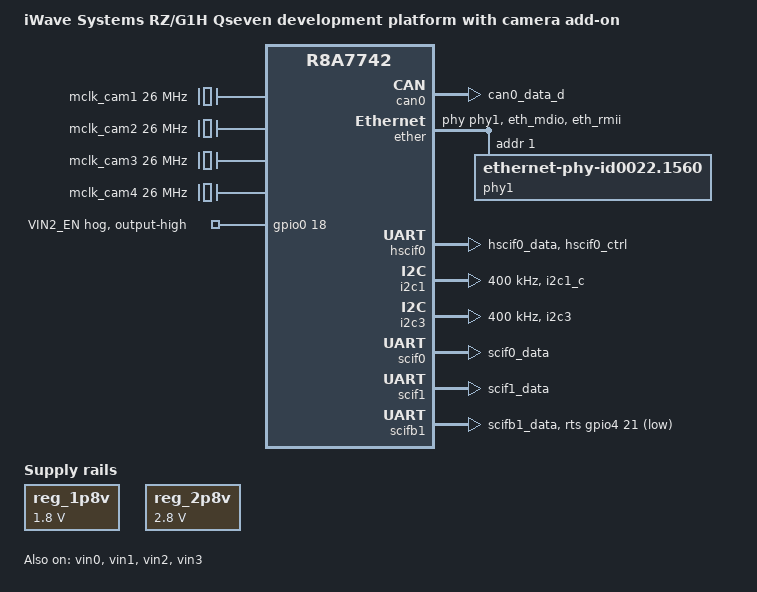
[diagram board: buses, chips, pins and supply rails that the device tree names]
// SPDX-License-Identifier: GPL-2.0
/*
 * Device Tree Source for the iWave-RZ/G1H Qseven board development
 * platform with camera daughter board
 *
 * Copyright (C) 2020 Renesas Electronics Corp.
 */

/dts-v1/;
#include "r8a7742-iwg21d-q7.dts"

/ {
	model = "iWave Systems RZ/G1H Qseven development platform with camera add-on";
	compatible = "iwave,g21d", "iwave,g21m", "renesas,r8a7742";

	aliases {
		serial0 = &scif0;
		serial1 = &scif1;
		serial3 = &scifb1;
		serial5 = &hscif0;
		ethernet1 = &ether;
	};

	mclk_cam1: mclk-cam1 {
		compatible = "fixed-clock";
		#clock-cells = <0>;
		clock-frequency = <26000000>;
	};

	mclk_cam2: mclk-cam2 {
		compatible = "fixed-clock";
		#clock-cells = <0>;
		clock-frequency = <26000000>;
	};

	mclk_cam3: mclk-cam3 {
		compatible = "fixed-clock";
		#clock-cells = <0>;
		clock-frequency = <26000000>;
	};

	mclk_cam4: mclk-cam4 {
		compatible = "fixed-clock";
		#clock-cells = <0>;
		clock-frequency = <26000000>;
	};

	reg_1p8v: 1p8v {
		compatible = "regulator-fixed";
		regulator-name = "1P8V";
		regulator-min-microvolt = <1800000>;
		regulator-max-microvolt = <1800000>;
		regulator-always-on;
	};

	reg_2p8v: 2p8v {
		compatible = "regulator-fixed";
		regulator-name = "2P8V";
		regulator-min-microvolt = <2800000>;
		regulator-max-microvolt = <2800000>;
		regulator-always-on;
	};
};

&avb {
	/* Pins shared with VIN0, keep status disabled */
	status = "disabled";
};

&can0 {
	pinctrl-0 = <&can0_pins>;
	pinctrl-names = "default";
	status = "okay";
};

&ether {
	pinctrl-0 = <&ether_pins>;
	pinctrl-names = "default";

	phy-handle = <&phy1>;
	renesas,ether-link-active-low;
	status = "okay";

	phy1: ethernet-phy@1 {
		compatible = "ethernet-phy-id0022.1560",
			     "ethernet-phy-ieee802.3-c22";
		reg = <1>;
		micrel,led-mode = <1>;
	};
};

&gpio0 {
	/* Disable hogging GP0_18 to output LOW */
	/delete-node/ qspi-en-hog;

	/* Hog GP0_18 to output HIGH to enable VIN2 */
	vin2-en-hog {
		gpio-hog;
		gpios = <18 GPIO_ACTIVE_HIGH>;
		output-high;
		line-name = "VIN2_EN";
	};
};

&hscif0 {
	pinctrl-0 = <&hscif0_pins>;
	pinctrl-names = "default";
	uart-has-rtscts;
	status = "okay";
};

&i2c1 {
	pinctrl-0 = <&i2c1_pins>;
	pinctrl-names = "default";

	/* status set to "okay" when needed by camera configuration below */
	clock-frequency = <400000>;
};

&i2c3 {
	pinctrl-0 = <&i2c3_pins>;
	pinctrl-names = "default";

	/* status set to "okay" when needed by camera configuration below */
	clock-frequency = <400000>;
};

&pfc {
	can0_pins: can0 {
		groups = "can0_data_d";
		function = "can0";
	};

	ether_pins: ether {
		groups = "eth_mdio", "eth_rmii";
		function = "eth";
	};

	hscif0_pins: hscif0 {
		groups = "hscif0_data", "hscif0_ctrl";
		function = "hscif0";
	};

	i2c1_pins: i2c1 {
		groups = "i2c1_c";
		function = "i2c1";
	};

	i2c3_pins: i2c3 {
		groups = "i2c3";
		function = "i2c3";
	};

	scif0_pins: scif0 {
		groups = "scif0_data";
		function = "scif0";
	};

	scif1_pins: scif1 {
		groups = "scif1_data";
		function = "scif1";
	};

	scifb1_pins: scifb1 {
		groups = "scifb1_data";
		function = "scifb1";
	};

	vin0_8bit_pins: vin0 {
		groups = "vin0_data8", "vin0_clk", "vin0_sync";
		function = "vin0";
	};

	vin1_8bit_pins: vin1 {
		groups = "vin1_data8_b", "vin1_clk_b", "vin1_sync_b";
		function = "vin1";
	};

	vin2_pins: vin2 {
		groups = "vin2_g8", "vin2_clk";
		function = "vin2";
	};

	vin3_pins: vin3 {
		groups = "vin3_data8", "vin3_clk", "vin3_sync";
		function = "vin3";
	};
};

&qspi {
	/* Pins shared with VIN2, keep status disabled */
	status = "disabled";
};

&scif0 {
	pinctrl-0 = <&scif0_pins>;
	pinctrl-names = "default";
	status = "okay";
};

&scif1 {
	pinctrl-0 = <&scif1_pins>;
	pinctrl-names = "default";
	status = "okay";
};

&scifb1 {
	pinctrl-0 = <&scifb1_pins>;
	pinctrl-names = "default";
	status = "okay";

	rts-gpios = <&gpio4 21 GPIO_ACTIVE_LOW>;
	cts-gpios = <&gpio4 17 GPIO_ACTIVE_LOW>;
};

/*
 * Below configuration ties VINx endpoints to ov5640/ov7725 camera endpoints
 *
 * (un)comment the #include statements to change configuration
 */

/* 8bit CMOS Camera 1 (J13) */
#define CAM_PARENT_I2C		i2c0
#define MCLK_CAM		mclk_cam1
#define CAM_EP			cam0ep
#define VIN_EP			vin0ep
#undef CAM_ENABLED
#include "r8a7742-iwg21d-q7-dbcm-ov5640-single.dtsi"
//#include "r8a7742-iwg21d-q7-dbcm-ov7725-single.dtsi"

#ifdef CAM_ENABLED
&vin0 {
	/*
	 * Set SW2 switch on the SOM to 'ON'
	 * Set SW1 switch on camera board to 'OFF' as we are using 8bit mode
	 */
	status = "okay";
	pinctrl-0 = <&vin0_8bit_pins>;
	pinctrl-names = "default";

	port {
		vin0ep: endpoint {
			remote-endpoint = <&cam0ep>;
			bus-width = <8>;
			bus-type = <6>;
		};
	};
};
#endif /* CAM_ENABLED */

#undef CAM_PARENT_I2C
#undef MCLK_CAM
#undef CAM_EP
#undef VIN_EP

/* 8bit CMOS Camera 2 (J14) */
#define CAM_PARENT_I2C		i2c1
#define MCLK_CAM		mclk_cam2
#define CAM_EP			cam1ep
#define VIN_EP			vin1ep
#undef CAM_ENABLED
#include "r8a7742-iwg21d-q7-dbcm-ov5640-single.dtsi"
//#include "r8a7742-iwg21d-q7-dbcm-ov7725-single.dtsi"

#ifdef CAM_ENABLED
&vin1 {
	/* Set SW1 switch on the SOM to 'ON' */
	status = "okay";
	pinctrl-0 = <&vin1_8bit_pins>;
	pinctrl-names = "default";

	port {
		vin1ep: endpoint {
			remote-endpoint = <&cam1ep>;
			bus-width = <8>;
			bus-type = <6>;
		};
	};
};

#endif /* CAM_ENABLED */

#undef CAM_PARENT_I2C
#undef MCLK_CAM
#undef CAM_EP
#undef VIN_EP

/* 8bit CMOS Camera 3 (J12) */
#define CAM_PARENT_I2C		i2c2
#define MCLK_CAM		mclk_cam3
#define CAM_EP			cam2ep
#define VIN_EP			vin2ep
#undef CAM_ENABLED
#include "r8a7742-iwg21d-q7-dbcm-ov5640-single.dtsi"
//#include "r8a7742-iwg21d-q7-dbcm-ov7725-single.dtsi"

#ifdef CAM_ENABLED
&vin2 {
	status = "okay";
	pinctrl-0 = <&vin2_pins>;
	pinctrl-names = "default";

	port {
		vin2ep: endpoint {
			remote-endpoint = <&cam2ep>;
			bus-width = <8>;
			data-shift = <8>;
			bus-type = <6>;
		};
	};
};
#endif /* CAM_ENABLED */

#undef CAM_PARENT_I2C
#undef MCLK_CAM
#undef CAM_EP
#undef VIN_EP

/* 8bit CMOS Camera 4 (J11) */
#define CAM_PARENT_I2C		i2c3
#define MCLK_CAM		mclk_cam4
#define CAM_EP			cam3ep
#define VIN_EP			vin3ep
#undef CAM_ENABLED
#include "r8a7742-iwg21d-q7-dbcm-ov5640-single.dtsi"
//#include "r8a7742-iwg21d-q7-dbcm-ov7725-single.dtsi"

#ifdef CAM_ENABLED
&vin3 {
	status = "okay";
	pinctrl-0 = <&vin3_pins>;
	pinctrl-names = "default";

	port {
		vin3ep: endpoint {
			remote-endpoint = <&cam3ep>;
			bus-width = <8>;
			bus-type = <6>;
		};
	};
};
#endif /* CAM_ENABLED */

#undef CAM_PARENT_I2C
#undef MCLK_CAM
#undef CAM_EP
#undef VIN_EP
